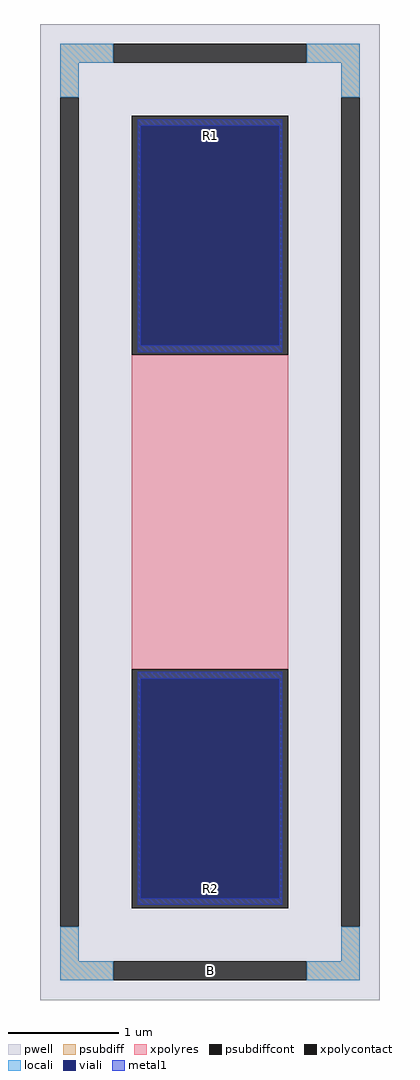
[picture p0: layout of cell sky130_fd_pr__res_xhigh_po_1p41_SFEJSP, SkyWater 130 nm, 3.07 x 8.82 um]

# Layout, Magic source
magic
tech sky130A
magscale 1 2
<< pwell >>
rect -307 -882 307 882
<< psubdiff >>
rect -271 812 -175 846
rect 175 812 271 846
rect -271 750 -237 812
rect 237 750 271 812
rect -271 -812 -237 -750
rect 237 -812 271 -750
rect -271 -846 -175 -812
rect 175 -846 271 -812
<< psubdiffcont >>
rect -175 812 175 846
rect -271 -750 -237 750
rect 237 -750 271 750
rect -175 -846 175 -812
<< xpolycontact >>
rect -141 284 141 716
rect -141 -716 141 -284
<< xpolyres >>
rect -141 -284 141 284
<< locali >>
rect -271 812 -175 846
rect 175 812 271 846
rect -271 750 -237 812
rect 237 750 271 812
rect -271 -812 -237 -750
rect 237 -812 271 -750
rect -271 -846 -175 -812
rect 175 -846 271 -812
<< viali >>
rect -125 301 125 698
rect -125 -698 125 -301
<< metal1 >>
rect -131 698 131 710
rect -131 301 -125 698
rect 125 301 131 698
rect -131 289 131 301
rect -131 -301 131 -289
rect -131 -698 -125 -301
rect 125 -698 131 -301
rect -131 -710 131 -698
<< labels >>
rlabel psubdiffcont 0 -829 0 -829 0 B
port 1 nsew
rlabel xpolycontact 0 681 0 681 0 R1
port 2 nsew
rlabel xpolycontact 0 -681 0 -681 0 R2
port 3 nsew
<< properties >>
string FIXED_BBOX -254 -829 254 829
string gencell sky130_fd_pr__res_xhigh_po_1p41
string library sky130
string parameters w 1.41 l 3.0 m 1 nx 1 wmin 1.410 lmin 0.50 class resistor rho 2000 val 4.522k dummy 0 dw 0.0 term 188.2 sterm 0.0 caplen 0 wmax 1.410 guard 1 glc 1 grc 1 gtc 1 gbc 1 compatible {sky130_fd_pr__res_xhigh_po_0p35  sky130_fd_pr__res_xhigh_po_0p69 sky130_fd_pr__res_xhigh_po_1p41  sky130_fd_pr__res_xhigh_po_2p85 sky130_fd_pr__res_xhigh_po_5p73} snake 0 full_metal 1 n_guard 0 hv_guard 0 vias 1 viagb 0 viagt 0 viagl 0 viagr 0 doports 1
<< end >>
